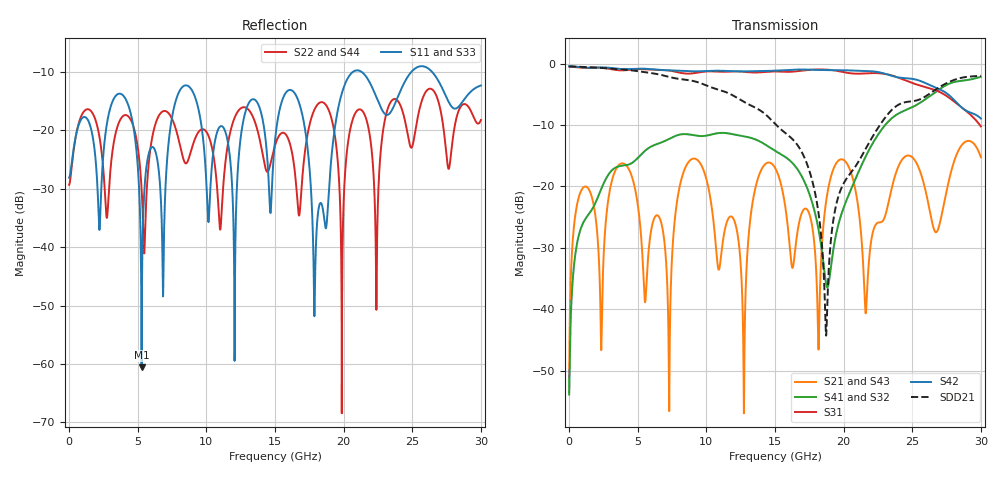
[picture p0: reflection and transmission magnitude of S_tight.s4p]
!diffpair-meanders S_tight (straight pair, 6 mm serpentine on P, folds 0.15 mm apart), mesh coarse
!ports 1 P_near 2 N_near 3 P_far 4 N_far; openEMS FDTD, lumped 50 ohm ports
# Hz S RI R 50.0
! Port[1] = P_near
! Port[2] = N_near
! Port[3] = P_far
! Port[4] = N_far
!freq ReS11 ImS11 ReS12 ImS12 ReS13 ImS13
! ReS14 ImS14
! ReS21 ImS21 ReS22 ImS22 ReS23 ImS23
! ReS24 ImS24
! ReS31 ImS31 ReS32 ImS32 ReS33 ImS33
! ReS34 ImS34
! ReS41 ImS41 ReS42 ImS42 ReS43 ImS43
! ReS44 ImS44
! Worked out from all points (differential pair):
!   3000 points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, 10 MHz to 30 GHz, reference 50 ohm
!   strongest paths, dB at 10 MHz, 7.51 GHz, 15.01 GHz, 22.51 GHz, 30 GHz:
!     S42: -0.4, -1.1, -1.1, -1.4, -8.9
!     S31: -0.5, -1.2, -1.3, -1.5, -10.2
!     S41: -53.9, -12.0, -14.2, -11.6, -2.1
!     S32: -53.9, -12.0, -14.2, -11.6, -2.1
!     S21: -53.5, -31.3, -17.0, -25.9, -15.2
!     S43: -53.5, -31.3, -17.0, -25.9, -15.2
!   taken as a pair (ports 2,1 in; 4,3 out), SDD21 dB: -0.5, -2.3, -9.8, -10.4, -2.0
!   lowest |S11| = -60.5 dB at 5.29 GHz (marker M1), VSWR 1.00, Z = 50.1 - j0.00688 ohm
!   |S11| at or under -10 dB: start of sweep to 20.68 GHz; 21.31 GHz to 24.94 GHz (3.623 GHz wide, 15.7 % of centre); 26.45 GHz to end of sweep
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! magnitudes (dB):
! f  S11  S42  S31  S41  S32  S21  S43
! 10 MHz  -28.1  -0.4  -0.5  -53.9  -53.9  -53.5  -53.5
! 970 MHz  -17.9  -0.6  -0.7  -26.2  -26.2  -20.4  -20.4
! 5.29 GHz  -60.5  -0.8  -0.9  -14.7  -14.7  -29.2  -29.2
! 8.46 GHz  -12.3  -1.2  -1.6  -11.5  -11.5  -17.0  -17.0
! 12.73 GHz  -18.0  -1.3  -1.3  -11.8  -11.8  -54.8  -54.8
! 18.83 GHz  -34.0  -1.0  -1.0  -36.4  -37.6  -21.0  -21.0
! 30 GHz  -12.3  -8.9  -10.2  -2.1  -2.1  -15.2  -15.2
